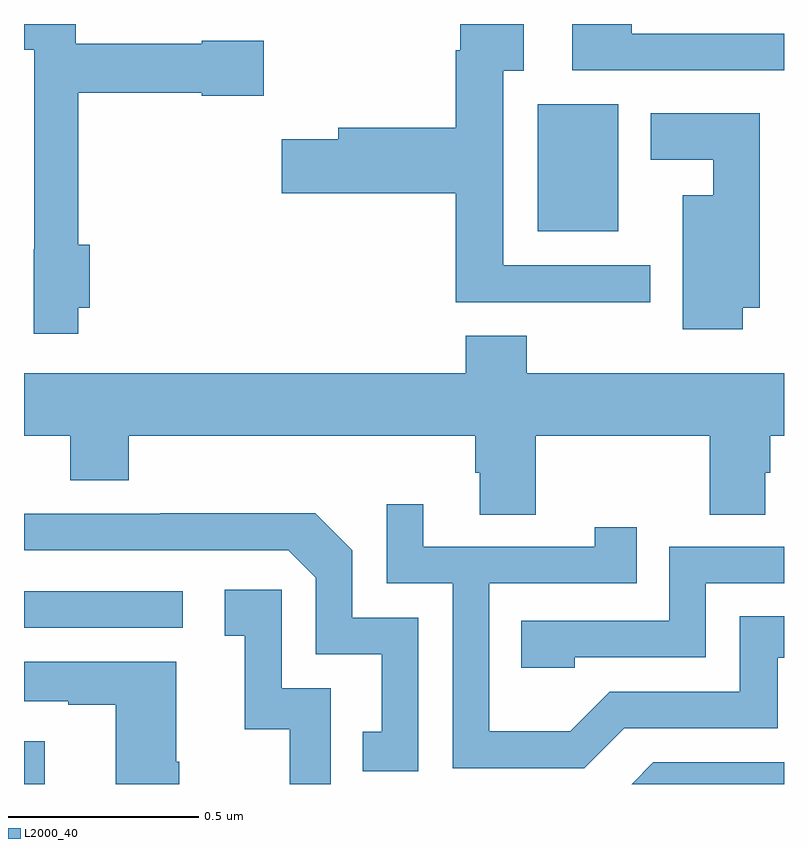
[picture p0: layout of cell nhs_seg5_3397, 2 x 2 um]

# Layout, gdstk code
import gdstk
lib = gdstk.Library(unit=1e-6, precision=1e-09)
def R(c, l, rs):  # rectangles x0, y0, x1, y1
    for r in rs: c.add(gdstk.rectangle(r[:2], r[2:], *l))
def P(c, l, *ps):  # polygons
    for p in ps: c.add(gdstk.Polygon(p, *l))
L2000_40 = (2000, 40)

nhs_seg5_3397 = lib.new_cell('nhs_seg5_3397')
R(nhs_seg5_3397, L2000_40, [(156,899.799,156.055,899.911), (156,900.21,156.418,900.306), (157.352,901.253,157.564,901.588)])
P(nhs_seg5_3397, L2000_40, [(158,901.773),(157.599,901.773),(157.599,901.799),(157.443,901.799),(157.443,901.677),(158,901.677)],
  [(156.143,901.052),(156.173,901.052),(156.173,901.218),(156.143,901.218),(156.143,901.618),(156.468,901.618),(156.468,901.61),(156.631,901.61),(156.631,901.755),(156.468,901.755),(156.468,901.747),(156.136,901.747),(156.136,901.799),(156,901.799),(156,901.731),(156.027,901.731),(156.027,901.206),(156.026,901.206),(156.026,900.984),(156.143,900.984)],
  [(157.648,901.164),(157.261,901.164),(157.261,901.676),(157.315,901.676),(157.315,901.799),(157.148,901.799),(157.148,901.73),(157.136,901.73),(157.136,901.526),(156.827,901.526),(156.827,901.496),(156.678,901.496),(156.678,901.354),(157.136,901.354),(157.136,901.067),(157.648,901.067)],
  [(157.891,901.052),(157.936,901.052),(157.936,901.564),(157.649,901.564),(157.649,901.442),(157.814,901.442),(157.814,901.348),(157.733,901.348),(157.733,900.996),(157.891,900.996)],
  [(157.347,900.716),(157.804,900.716),(157.804,900.508),(157.951,900.508),(157.951,900.618),(157.964,900.618),(157.964,900.716),(158,900.716),(158,900.88),(157.323,900.88),(157.323,900.979),(157.163,900.979),(157.163,900.88),(156,900.88),(156,900.716),(156.122,900.716),(156.122,900.599),(156.275,900.599),(156.275,900.716),(157.187,900.716),(157.187,900.618),(157.199,900.618),(157.199,900.508),(157.347,900.508)],
  [(157.579,899.946),(157.983,899.946),(157.983,900.131),(158,900.131),(158,900.241),(157.884,900.241),(157.884,900.042),(157.542,900.042),(157.438,899.938),(157.224,899.938),(157.224,900.327),(157.613,900.327),(157.613,900.475),(157.502,900.475),(157.502,900.423),(157.051,900.423),(157.051,900.535),(156.954,900.535),(156.954,900.327),(157.128,900.327),(157.128,899.841),(157.474,899.841)],
  [(157.038,900.237),(156.864,900.237),(156.864,900.414),(156.766,900.512),(156.358,900.512),(156.358,900.51),(156,900.51),(156,900.414),(156.696,900.414),(156.768,900.342),(156.768,900.141),(156.941,900.141),(156.941,899.937),(156.892,899.937),(156.892,899.832),(157.038,899.832)],
  [(157.449,900.132),(157.794,900.132),(157.794,900.327),(158,900.327),(158,900.423),(157.698,900.423),(157.698,900.228),(157.309,900.228),(157.309,900.105),(157.449,900.105)],
  [(156.807,900.051),(156.678,900.051),(156.678,900.31),(156.528,900.31),(156.528,900.189),(156.581,900.189),(156.581,899.943),(156.699,899.943),(156.699,899.799),(156.807,899.799)],
  [(156.408,899.857),(156.4,899.857),(156.4,900.121),(156,900.121),(156,900.017),(156.116,900.017),(156.116,900.007),(156.242,900.007),(156.242,899.799),(156.408,899.799)],
  [(158,899.856),(157.656,899.856),(157.599,899.799),(158,899.799)])

lib.write_gds('nhs_seg5_3397.gds')
